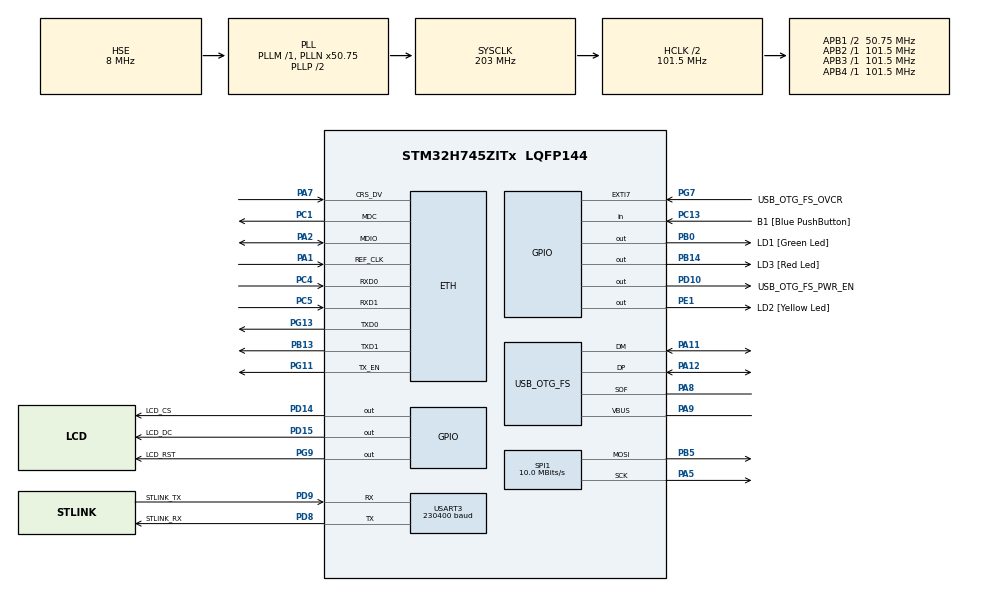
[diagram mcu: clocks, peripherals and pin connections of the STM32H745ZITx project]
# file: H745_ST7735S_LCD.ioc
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CortexM4.IPs=FATFS_M4\:I,FREERTOS_M4\:I,IWDG2\:I,RCC,WWDG2\:I,DMA,BDMA,MDMA,NVIC2\:I,USART3,ETH,DEBUG,USB_DEVICE_M4\:I,USB_HOST_M4\:I,PDM2PCM_M4\:I,PWR,RESMGR_UTILITY,SYS_M4\:I,CORTEX_M4\:I,OPENAMP_M4\:I,VREFBUF,GPIO
CortexM7.IPs=FATFS_M7\:I,FREERTOS_M7\:I,IWDG1\:I,RCC\:I,WWDG1\:I,DMA\:I,BDMA\:I,MDMA\:I,NVIC1\:I,SYS\:I,USART3\:I,USB_OTG_FS\:I,ETH\:I,CORTEX_M7\:I,DEBUG\:I,USB_DEVICE_M7\:I,USB_HOST_M7\:I,PDM2PCM_M7\:I,PWR\:I,RESMGR_UTILITY\:I,OPENAMP_M7\:I,VREFBUF\:I,GPIO\:I,SPI1\:I
CortexM7.Pins=PD14,PD15,PG9
Dma.Request0=SPI1_TX
Dma.Request1=USART3_RX
Dma.Request2=USART3_TX
Dma.SPI1_TX.0.Direction=DMA_MEMORY_TO_PERIPH
Dma.SPI1_TX.0.EventEnable=DISABLE
Dma.SPI1_TX.0.FIFOMode=DMA_FIFOMODE_DISABLE
Dma.SPI1_TX.0.Instance=DMA1_Stream0
Dma.SPI1_TX.0.MemDataAlignment=DMA_MDATAALIGN_BYTE
Dma.SPI1_TX.0.MemInc=DMA_MINC_ENABLE
Dma.SPI1_TX.0.Mode=DMA_CIRCULAR
Dma.SPI1_TX.0.PeriphDataAlignment=DMA_PDATAALIGN_BYTE
Dma.SPI1_TX.0.PeriphInc=DMA_PINC_DISABLE
Dma.SPI1_TX.0.Polarity=HAL_DMAMUX_REQ_GEN_RISING
Dma.SPI1_TX.0.Priority=DMA_PRIORITY_LOW
Dma.SPI1_TX.0.RequestNumber=1
Dma.SPI1_TX.0.SignalID=NONE
Dma.SPI1_TX.0.SyncEnable=DISABLE
Dma.SPI1_TX.0.SyncPolarity=HAL_DMAMUX_SYNC_NO_EVENT
Dma.SPI1_TX.0.SyncRequestNumber=1
Dma.SPI1_TX.0.SyncSignalID=NONE
Dma.USART3_RX.1.Direction=DMA_PERIPH_TO_MEMORY
Dma.USART3_RX.1.EventEnable=DISABLE
Dma.USART3_RX.1.FIFOMode=DMA_FIFOMODE_DISABLE
Dma.USART3_RX.1.Instance=DMA1_Stream1
Dma.USART3_RX.1.MemDataAlignment=DMA_MDATAALIGN_BYTE
Dma.USART3_RX.1.MemInc=DMA_MINC_ENABLE
Dma.USART3_RX.1.Mode=DMA_CIRCULAR
Dma.USART3_RX.1.PeriphDataAlignment=DMA_PDATAALIGN_BYTE
Dma.USART3_RX.1.PeriphInc=DMA_PINC_DISABLE
Dma.USART3_RX.1.Polarity=HAL_DMAMUX_REQ_GEN_RISING
Dma.USART3_RX.1.Priority=DMA_PRIORITY_LOW
Dma.USART3_RX.1.RequestNumber=1
Dma.USART3_RX.1.SignalID=NONE
Dma.USART3_RX.1.SyncEnable=DISABLE
Dma.USART3_RX.1.SyncPolarity=HAL_DMAMUX_SYNC_NO_EVENT
Dma.USART3_RX.1.SyncRequestNumber=1
Dma.USART3_RX.1.SyncSignalID=NONE
Dma.USART3_TX.2.Direction=DMA_MEMORY_TO_PERIPH
Dma.USART3_TX.2.EventEnable=DISABLE
Dma.USART3_TX.2.FIFOMode=DMA_FIFOMODE_DISABLE
Dma.USART3_TX.2.Instance=DMA1_Stream2
Dma.USART3_TX.2.MemDataAlignment=DMA_MDATAALIGN_BYTE
Dma.USART3_TX.2.MemInc=DMA_MINC_ENABLE
Dma.USART3_TX.2.Mode=DMA_CIRCULAR
Dma.USART3_TX.2.PeriphDataAlignment=DMA_PDATAALIGN_BYTE
Dma.USART3_TX.2.PeriphInc=DMA_PINC_DISABLE
Dma.USART3_TX.2.Polarity=HAL_DMAMUX_REQ_GEN_RISING
Dma.USART3_TX.2.Priority=DMA_PRIORITY_LOW
Dma.USART3_TX.2.RequestNumber=1
Dma.USART3_TX.2.SignalID=NONE
Dma.USART3_TX.2.SyncEnable=DISABLE
Dma.USART3_TX.2.SyncPolarity=HAL_DMAMUX_SYNC_NO_EVENT
Dma.USART3_TX.2.SyncRequestNumber=1
Dma.USART3_TX.2.SyncSignalID=NONE
ETH.MediaInterface=HAL_ETH_RMII_MODE
Mcu.Family=STM32H7
Mcu.Name=STM32H745ZITx
Mcu.Package=LQFP144
NVIC1.DMA1_Stream0_IRQn=true\:0\:0\:false\:false\:true\:false\:true\:true
NVIC1.DMA1_Stream1_IRQn=true\:0\:0\:false\:false\:true\:false\:true\:true
NVIC1.DMA1_Stream2_IRQn=true\:0\:0\:false\:false\:true\:false\:true\:true
NVIC1.PriorityGroup=NVIC_PRIORITYGROUP_4
NVIC1.SPI1_IRQn=true\:0\:0\:false\:false\:true\:false\:true\:true
NVIC1.USART3_IRQn=true\:0\:0\:false\:false\:true\:true\:true\:true
NVIC2.PriorityGroup=NVIC_PRIORITYGROUP_4
PA1.Mode=RMII
PA1.PinAttribute=CortexM7
PA1.Signal=ETH_REF_CLK
PA11.Mode=Device_Only
PA11.PinAttribute=CortexM7
PA11.Signal=USB_OTG_FS_DM
PA12.Mode=Device_Only
PA12.PinAttribute=CortexM7
PA12.Signal=USB_OTG_FS_DP
PA2.Mode=RMII
PA2.PinAttribute=CortexM7
PA2.Signal=ETH_MDIO
PA5.Mode=TX_Only_Simplex_Unidirect_Master
PA5.PinAttribute=CortexM7
PA5.Signal=SPI1_SCK
PA7.Mode=RMII
PA7.PinAttribute=CortexM7
PA7.Signal=ETH_CRS_DV
PA8.Mode=Activate_SOF_FS
PA8.PinAttribute=CortexM7
PA8.Signal=USB_OTG_FS_SOF
PA9.Mode=Activate_VBUS
PA9.PinAttribute=CortexM7
PA9.Signal=USB_OTG_FS_VBUS
PB0.GPIO_Label=LD1 [Green Led]
PB0.PinAttribute=Free
PB0.Signal=GPIO_Output
PB13.Mode=RMII
PB13.PinAttribute=CortexM7
PB13.Signal=ETH_TXD1
PB14.GPIO_Label=LD3 [Red Led]
PB14.PinAttribute=Free
PB14.Signal=GPIO_Output
PB5.Mode=TX_Only_Simplex_Unidirect_Master
PB5.PinAttribute=CortexM7
PB5.Signal=SPI1_MOSI
PC1.Mode=RMII
PC1.PinAttribute=CortexM7
PC1.Signal=ETH_MDC
PC13.GPIO_Label=B1 [Blue PushButton]
PC13.PinAttribute=Free
PC13.Signal=GPIO_Input
PC14-OSC32_IN\ (OSC32_IN).Mode=LSE-External-Oscillator
PC14-OSC32_IN\ (OSC32_IN).PinAttribute=CortexM7
PC14-OSC32_IN\ (OSC32_IN).Signal=RCC_OSC32_IN
PC15-OSC32_OUT\ (OSC32_OUT).Mode=LSE-External-Oscillator
PC15-OSC32_OUT\ (OSC32_OUT).PinAttribute=CortexM7
PC15-OSC32_OUT\ (OSC32_OUT).Signal=RCC_OSC32_OUT
PC4.Mode=RMII
PC4.PinAttribute=CortexM7
PC4.Signal=ETH_RXD0
PC5.Mode=RMII
PC5.PinAttribute=CortexM7
PC5.Signal=ETH_RXD1
PD10.GPIO_Label=USB_OTG_FS_PWR_EN
PD10.PinAttribute=Free
PD10.Signal=GPIO_Output
PD14.GPIO_Label=LCD_CS
PD14.PinAttribute=CortexM7
PD14.PinState=GPIO_PIN_SET
PD14.Signal=GPIO_Output
PD15.GPIO_Label=LCD_DC
PD15.PinAttribute=CortexM7
PD15.Signal=GPIO_Output
PD8.GPIO_Label=STLINK_RX
PD8.Mode=Asynchronous
PD8.PinAttribute=CortexM7
PD8.Signal=USART3_TX
PD9.GPIO_Label=STLINK_TX
PD9.Mode=Asynchronous
PD9.PinAttribute=CortexM7
PD9.Signal=USART3_RX
PE1.GPIO_Label=LD2 [Yellow Led]
PE1.PinAttribute=Free
PE1.Signal=GPIO_Output
PG11.Mode=RMII
PG11.PinAttribute=CortexM7
PG11.Signal=ETH_TX_EN
PG13.Mode=RMII
PG13.PinAttribute=CortexM7
PG13.Signal=ETH_TXD0
PG7.GPIO_Label=USB_OTG_FS_OVCR
PG7.PinAttribute=Free
PG7.Signal=GPXTI7
PG9.GPIO_Label=LCD_RST
PG9.PinAttribute=CortexM7
PG9.Signal=GPIO_Output
PH0-OSC_IN\ (PH0).Mode=HSE-External-Clock-Source
PH0-OSC_IN\ (PH0).PinAttribute=CortexM7
PH0-OSC_IN\ (PH0).Signal=RCC_OSC_IN
PH1-OSC_OUT\ (PH1).PinAttribute=CortexM7
PH1-OSC_OUT\ (PH1).Signal=RCC_OSC_OUT
ProjectManager.HeapSize=M4-0x200,M7-0x200
ProjectManager.StackSize=M4-0x400,M7-0x400
ProjectManager.TargetToolchain=STM32CubeIDE
RCC.ADCFreq_Value=80000000
RCC.APB1Freq_Value=50750000
RCC.APB2Freq_Value=101500000
RCC.APB3Freq_Value=101500000
RCC.APB4Freq_Value=101500000
RCC.CortexFreq_Value=203000000
RCC.D2PPRE1=RCC_APB1_DIV2
RCC.DIVM1=1
RCC.DIVM2=4
RCC.DIVM3=1
RCC.DIVN1=50
RCC.DIVN2=80
RCC.DIVN3=18
RCC.DIVQ3=3
RCC.HCLKFreq_Value=101500000
RCC.HPRE=RCC_HCLK_DIV2
RCC.HSE_VALUE=8000000
RCC.PLL2FRACN=0
RCC.PLL3FRACN=6144
RCC.PLLFRACN=6144
RCC.SPI123CLockSelection=RCC_SPI123CLKSOURCE_PLL2
RCC.SYSCLKFreq_VALUE=203000000
RCC.SYSCLKSource=RCC_SYSCLKSOURCE_PLLCLK
RCC.SupplySource=PWR_DIRECT_SMPS_SUPPLY
RCC.USBCLockSelection=RCC_USBCLKSOURCE_PLL3
RCC.USBFreq_Value=50000000
SPI1.BaudRatePrescaler=SPI_BAUDRATEPRESCALER_8
SPI1.CalculateBaudRate=10.0 MBits/s
SPI1.DataSize=SPI_DATASIZE_8BIT
SPI1.Direction=SPI_DIRECTION_2LINES_TXONLY
SPI1.Mode=SPI_MODE_MASTER
SPI1.VirtualType=VM_MASTER
USART3.BaudRate=230400
USART3.VirtualMode-Asynchronous=VM_ASYNC
USB_OTG_FS.VirtualMode=Device_Only
VP_SYS_M4_VS_Systick.Mode=SysTick
board=NUCLEO-H745ZI-Q

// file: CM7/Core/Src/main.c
/* USER CODE BEGIN Header */
/**
  ******************************************************************************
  * @file           : main.c
  * @brief          : Main program body
  ******************************************************************************
  * @attention
  *
  * Copyright (c) 2022 STMicroelectronics.
  * All rights reserved.
  *
  * This software is licensed under terms that can be found in the LICENSE file
  * in the root directory of this software component.
  * If no LICENSE file comes with this software, it is provided AS-IS.
  *
  ******************************************************************************
  */
/* USER CODE END Header */
#include "main.h"
#include "string.h"

/* USER CODE BEGIN Includes */
#include "ST7735S_LCD.h"
#include "UART_LCD.h"
#include "BMP_UART_Decode.h"

//#include "ST7735_SF.h"
#include "ST7735_af.h"

#include "fonts.h"
#include "testimg.h"
/* USER CODE END Includes */

/* USER CODE BEGIN PD */

#ifndef HSEM_ID_0
#define HSEM_ID_0 (0U) /* HW semaphore 0*/
#endif
/* USER CODE END PD */

#if defined ( __ICCARM__ ) /*!< IAR Compiler */
#pragma location=0x30000000
ETH_DMADescTypeDef  DMARxDscrTab[ETH_RX_DESC_CNT]; /* Ethernet Rx DMA Descriptors */
#pragma location=0x30000200
ETH_DMADescTypeDef  DMATxDscrTab[ETH_TX_DESC_CNT]; /* Ethernet Tx DMA Descriptors */

#elif defined ( __CC_ARM )  /* MDK ARM Compiler */

__attribute__((at(0x30000000))) ETH_DMADescTypeDef  DMARxDscrTab[ETH_RX_DESC_CNT]; /* Ethernet Rx DMA Descriptors */
__attribute__((at(0x30000200))) ETH_DMADescTypeDef  DMATxDscrTab[ETH_TX_DESC_CNT]; /* Ethernet Tx DMA Descriptors */

#elif defined ( __GNUC__ ) /* GNU Compiler */
ETH_DMADescTypeDef DMARxDscrTab[ETH_RX_DESC_CNT] __attribute__((section(".RxDecripSection"))); /* Ethernet Rx DMA Descriptors */
ETH_DMADescTypeDef DMATxDscrTab[ETH_TX_DESC_CNT] __attribute__((section(".TxDecripSection")));   /* Ethernet Tx DMA Descriptors */

#endif

ETH_TxPacketConfig TxConfig;

ETH_HandleTypeDef heth;

SPI_HandleTypeDef hspi1;
DMA_HandleTypeDef hdma_spi1_tx;

UART_HandleTypeDef huart3;
DMA_HandleTypeDef hdma_usart3_rx;
DMA_HandleTypeDef hdma_usart3_tx;

PCD_HandleTypeDef hpcd_USB_OTG_FS;

/* USER CODE BEGIN PV */
LCDHandle ST7735S = { 0 };
UARTStucrture UART2 ={ 0 };

/////////////// SF////////////
uint8_t r = 0;
/* USER CODE END PV */

void SystemClock_Config(void);
static void MX_GPIO_Init(void);
static void MX_ETH_Init(void);
static void MX_USART3_UART_Init(void);
static void MX_USB_OTG_FS_PCD_Init(void);
static void MX_SPI1_Init(void);
static void MX_DMA_Init(void);
/* USER CODE BEGIN PFP */
void demoTFT();
void af_loop();
/* USER CODE END PFP */

int main(void)
{
/* USER CODE BEGIN Boot_Mode_Sequence_0 */
  int32_t timeout;
/* USER CODE END Boot_Mode_Sequence_0 */

/* USER CODE BEGIN Boot_Mode_Sequence_1 */
  /* Wait until CPU2 boots and enters in stop mode or timeout*/
  timeout = 0xFFFF;
  while((__HAL_RCC_GET_FLAG(RCC_FLAG_D2CKRDY) != RESET) && (timeout-- > 0));
  if ( timeout < 0 )
  {
  Error_Handler();
  }
/* USER CODE END Boot_Mode_Sequence_1 */
  /* MCU Configuration--------------------------------------------------------*/

  /* Reset of all peripherals, Initializes the Flash interface and the Systick. */
  HAL_Init();

  /* Configure the system clock */
  SystemClock_Config();
/* USER CODE BEGIN Boot_Mode_Sequence_2 */
/* When system initialization is finished, Cortex-M7 will release Cortex-M4 by means of
HSEM notification */
/*HW semaphore Clock enable*/
__HAL_RCC_HSEM_CLK_ENABLE();
/*Take HSEM */
HAL_HSEM_FastTake(HSEM_ID_0);
/*Release HSEM in order to notify the CPU2(CM4)*/
HAL_HSEM_Release(HSEM_ID_0,0);
/* wait until CPU2 wakes up from stop mode */
timeout = 0xFFFF;
while((__HAL_RCC_GET_FLAG(RCC_FLAG_D2CKRDY) == RESET) && (timeout-- > 0));
if ( timeout < 0 )
{
Error_Handler();
}
/* USER CODE END Boot_Mode_Sequence_2 */

  /* Initialize all configured peripherals */
  MX_GPIO_Init();
  MX_ETH_Init();
  MX_USART3_UART_Init();
  MX_USB_OTG_FS_PCD_Init();
  MX_SPI1_Init();
  MX_DMA_Init();
  /* USER CODE BEGIN 2 */

//  	ST7735S.hspi = &hspi1;
//  	ST7735S.CSPort = GPIOD;
//  	ST7735S.CSPin = GPIO_PIN_14;
//  	ST7735S.DCPort = GPIOD;
//  	ST7735S.DCPin = GPIO_PIN_15;
//  	ST7735S.RstPort = GPIOG;
//  	ST7735S.RstPin = GPIO_PIN_9;
//  	LCD_init(&ST7735S);
//  	LCD_flush(&ST7735S);
//  	UART2.huart = &huart3;
//  	UART2.RxLen =255;
//  	UART2.TxLen =255;
//  	UARTInit(&UART2);
//  	UARTResetStart(&UART2);

  	ST7735_Init();
//	const char ready[] = "Ready!\r\n";
//	HAL_UART_Transmit(&huart3, (uint8_t*)ready, sizeof(ready)-1, HAL_MAX_DELAY);

  /* USER CODE END 2 */

  /* Infinite loop */
  while (1)
  {

    /* USER CODE BEGIN 3 */

	  //demoTFT();
	  af_loop();
	  //// Read  .bmp from UART Terra terms//////
//	  int16_t read = UARTReadChar(&UART2) ;
//	  		if(read != -1)
//	  			{
//	  				BMPDecoder(read, LCDBufferAddr());
//	  			}

	  ///////////////////////////////////////////
  }
  /* USER CODE END 3 */
}

void SystemClock_Config(void)
{
  RCC_OscInitTypeDef RCC_OscInitStruct = {0};
  RCC_ClkInitTypeDef RCC_ClkInitStruct = {0};

  /** Supply configuration update enable
  */
  HAL_PWREx_ConfigSupply(PWR_DIRECT_SMPS_SUPPLY);

  /** Configure the main internal regulator output voltage
  */
  __HAL_PWR_VOLTAGESCALING_CONFIG(PWR_REGULATOR_VOLTAGE_SCALE2);

  while(!__HAL_PWR_GET_FLAG(PWR_FLAG_VOSRDY)) {}

  /** Macro to configure the PLL clock source
  */
  __HAL_RCC_PLL_PLLSOURCE_CONFIG(RCC_PLLSOURCE_HSE);

  /** Initializes the RCC Oscillators according to the specified parameters
  * in the RCC_OscInitTypeDef structure.
  */
  RCC_OscInitStruct.OscillatorType = RCC_OSCILLATORTYPE_HSE;
  RCC_OscInitStruct.HSEState = RCC_HSE_BYPASS;
  RCC_OscInitStruct.PLL.PLLState = RCC_PLL_ON;
  RCC_OscInitStruct.PLL.PLLSource = RCC_PLLSOURCE_HSE;
  RCC_OscInitStruct.PLL.PLLM = 1;
  RCC_OscInitStruct.PLL.PLLN = 50;
  RCC_OscInitStruct.PLL.PLLP = 2;
  RCC_OscInitStruct.PLL.PLLQ = 2;
  RCC_OscInitStruct.PLL.PLLR = 2;
  RCC_OscInitStruct.PLL.PLLRGE = RCC_PLL1VCIRANGE_3;
  RCC_OscInitStruct.PLL.PLLVCOSEL = RCC_PLL1VCOWIDE;
  RCC_OscInitStruct.PLL.PLLFRACN = 6144;
  if (HAL_RCC_OscConfig(&RCC_OscInitStruct) != HAL_OK)
  {
    Error_Handler();
  }

  /** Initializes the CPU, AHB and APB buses clocks
  */
  RCC_ClkInitStruct.ClockType = RCC_CLOCKTYPE_HCLK|RCC_CLOCKTYPE_SYSCLK
                              |RCC_CLOCKTYPE_PCLK1|RCC_CLOCKTYPE_PCLK2
                              |RCC_CLOCKTYPE_D3PCLK1|RCC_CLOCKTYPE_D1PCLK1;
  RCC_ClkInitStruct.SYSCLKSource = RCC_SYSCLKSOURCE_PLLCLK;
  RCC_ClkInitStruct.SYSCLKDivider = RCC_SYSCLK_DIV1;
  RCC_ClkInitStruct.AHBCLKDivider = RCC_HCLK_DIV2;
  RCC_ClkInitStruct.APB3CLKDivider = RCC_APB3_DIV1;
  RCC_ClkInitStruct.APB1CLKDivider = RCC_APB1_DIV2;
  RCC_ClkInitStruct.APB2CLKDivider = RCC_APB2_DIV1;
  RCC_ClkInitStruct.APB4CLKDivider = RCC_APB4_DIV1;

  if (HAL_RCC_ClockConfig(&RCC_ClkInitStruct, FLASH_LATENCY_1) != HAL_OK)
  {
    Error_Handler();
  }
}

static void MX_ETH_Init(void)
{

   static uint8_t MACAddr[6];

  heth.Instance = ETH;
  MACAddr[0] = 0x00;
  MACAddr[1] = 0x80;
  MACAddr[2] = 0xE1;
  MACAddr[3] = 0x00;
  MACAddr[4] = 0x00;
  MACAddr[5] = 0x00;
  heth.Init.MACAddr = &MACAddr[0];
  heth.Init.MediaInterface = HAL_ETH_RMII_MODE;
  heth.Init.TxDesc = DMATxDscrTab;
  heth.Init.RxDesc = DMARxDscrTab;
  heth.Init.RxBuffLen = 1524;

  if (HAL_ETH_Init(&heth) != HAL_OK)
  {
    Error_Handler();
  }

  memset(&TxConfig, 0 , sizeof(ETH_TxPacketConfig));
  TxConfig.Attributes = ETH_TX_PACKETS_FEATURES_CSUM | ETH_TX_PACKETS_FEATURES_CRCPAD;
  TxConfig.ChecksumCtrl = ETH_CHECKSUM_IPHDR_PAYLOAD_INSERT_PHDR_CALC;
  TxConfig.CRCPadCtrl = ETH_CRC_PAD_INSERT;

}

static void MX_SPI1_Init(void)
{

  /* SPI1 parameter configuration*/
  hspi1.Instance = SPI1;
  hspi1.Init.Mode = SPI_MODE_MASTER;
  hspi1.Init.Direction = SPI_DIRECTION_2LINES_TXONLY;
  hspi1.Init.DataSize = SPI_DATASIZE_8BIT;
  hspi1.Init.CLKPolarity = SPI_POLARITY_LOW;
  hspi1.Init.CLKPhase = SPI_PHASE_1EDGE;
  hspi1.Init.NSS = SPI_NSS_SOFT;
  hspi1.Init.BaudRatePrescaler = SPI_BAUDRATEPRESCALER_8;
  hspi1.Init.FirstBit = SPI_FIRSTBIT_MSB;
  hspi1.Init.TIMode = SPI_TIMODE_DISABLE;
  hspi1.Init.CRCCalculation = SPI_CRCCALCULATION_DISABLE;
  hspi1.Init.CRCPolynomial = 0x0;
  hspi1.Init.NSSPMode = SPI_NSS_PULSE_ENABLE;
  hspi1.Init.NSSPolarity = SPI_NSS_POLARITY_LOW;
  hspi1.Init.FifoThreshold = SPI_FIFO_THRESHOLD_01DATA;
  hspi1.Init.TxCRCInitializationPattern = SPI_CRC_INITIALIZATION_ALL_ZERO_PATTERN;
  hspi1.Init.RxCRCInitializationPattern = SPI_CRC_INITIALIZATION_ALL_ZERO_PATTERN;
  hspi1.Init.MasterSSIdleness = SPI_MASTER_SS_IDLENESS_00CYCLE;
  hspi1.Init.MasterInterDataIdleness = SPI_MASTER_INTERDATA_IDLENESS_00CYCLE;
  hspi1.Init.MasterReceiverAutoSusp = SPI_MASTER_RX_AUTOSUSP_DISABLE;
  hspi1.Init.MasterKeepIOState = SPI_MASTER_KEEP_IO_STATE_DISABLE;
  hspi1.Init.IOSwap = SPI_IO_SWAP_DISABLE;
  if (HAL_SPI_Init(&hspi1) != HAL_OK)
  {
    Error_Handler();
  }

}

static void MX_USART3_UART_Init(void)
{

  huart3.Instance = USART3;
  huart3.Init.BaudRate = 230400;
  huart3.Init.WordLength = UART_WORDLENGTH_8B;
  huart3.Init.StopBits = UART_STOPBITS_1;
  huart3.Init.Parity = UART_PARITY_NONE;
  huart3.Init.Mode = UART_MODE_TX_RX;
  huart3.Init.HwFlowCtl = UART_HWCONTROL_NONE;
  huart3.Init.OverSampling = UART_OVERSAMPLING_16;
  huart3.Init.OneBitSampling = UART_ONE_BIT_SAMPLE_DISABLE;
  huart3.Init.ClockPrescaler = UART_PRESCALER_DIV1;
  huart3.AdvancedInit.AdvFeatureInit = UART_ADVFEATURE_NO_INIT;
  if (HAL_UART_Init(&huart3) != HAL_OK)
  {
    Error_Handler();
  }
  if (HAL_UARTEx_SetTxFifoThreshold(&huart3, UART_TXFIFO_THRESHOLD_1_8) != HAL_OK)
  {
    Error_Handler();
  }
  if (HAL_UARTEx_SetRxFifoThreshold(&huart3, UART_RXFIFO_THRESHOLD_1_8) != HAL_OK)
  {
    Error_Handler();
  }
  if (HAL_UARTEx_DisableFifoMode(&huart3) != HAL_OK)
  {
    Error_Handler();
  }

}

static void MX_USB_OTG_FS_PCD_Init(void)
{

  hpcd_USB_OTG_FS.Instance = USB_OTG_FS;
  hpcd_USB_OTG_FS.Init.dev_endpoints = 9;
  hpcd_USB_OTG_FS.Init.speed = PCD_SPEED_FULL;
  hpcd_USB_OTG_FS.Init.dma_enable = DISABLE;
  hpcd_USB_OTG_FS.Init.phy_itface = PCD_PHY_EMBEDDED;
  hpcd_USB_OTG_FS.Init.Sof_enable = DISABLE;
  hpcd_USB_OTG_FS.Init.low_power_enable = DISABLE;
  hpcd_USB_OTG_FS.Init.lpm_enable = DISABLE;
  hpcd_USB_OTG_FS.Init.battery_charging_enable = ENABLE;
  hpcd_USB_OTG_FS.Init.vbus_sensing_enable = ENABLE;
  hpcd_USB_OTG_FS.Init.use_dedicated_ep1 = DISABLE;
  if (HAL_PCD_Init(&hpcd_USB_OTG_FS) != HAL_OK)
  {
    Error_Handler();
  }

}

static void MX_DMA_Init(void)
{

  /* DMA controller clock enable */
  __HAL_RCC_DMA1_CLK_ENABLE();

  /* DMA interrupt init */
  /* DMA1_Stream0_IRQn interrupt configuration */
  HAL_NVIC_SetPriority(DMA1_Stream0_IRQn, 0, 0);
  HAL_NVIC_EnableIRQ(DMA1_Stream0_IRQn);
  /* DMA1_Stream1_IRQn interrupt configuration */
  HAL_NVIC_SetPriority(DMA1_Stream1_IRQn, 0, 0);
  HAL_NVIC_EnableIRQ(DMA1_Stream1_IRQn);
  /* DMA1_Stream2_IRQn interrupt configuration */
  HAL_NVIC_SetPriority(DMA1_Stream2_IRQn, 0, 0);
  HAL_NVIC_EnableIRQ(DMA1_Stream2_IRQn);

}

static void MX_GPIO_Init(void)
{
  GPIO_InitTypeDef GPIO_InitStruct = {0};

  /* GPIO Ports Clock Enable */
  __HAL_RCC_GPIOC_CLK_ENABLE();
  __HAL_RCC_GPIOH_CLK_ENABLE();
  __HAL_RCC_GPIOA_CLK_ENABLE();
  __HAL_RCC_GPIOB_CLK_ENABLE();
  __HAL_RCC_GPIOD_CLK_ENABLE();
  __HAL_RCC_GPIOG_CLK_ENABLE();

  /*Configure GPIO pin Output Level */
  HAL_GPIO_WritePin(LCD_CS_GPIO_Port, LCD_CS_Pin, GPIO_PIN_SET);

  /*Configure GPIO pin Output Level */
  HAL_GPIO_WritePin(LCD_DC_GPIO_Port, LCD_DC_Pin, GPIO_PIN_RESET);

  /*Configure GPIO pin Output Level */
  HAL_GPIO_WritePin(LCD_RST_GPIO_Port, LCD_RST_Pin, GPIO_PIN_RESET);

  /*Configure GPIO pins : LCD_CS_Pin LCD_DC_Pin */
  GPIO_InitStruct.Pin = LCD_CS_Pin|LCD_DC_Pin;
  GPIO_InitStruct.Mode = GPIO_MODE_OUTPUT_PP;
  GPIO_InitStruct.Pull = GPIO_NOPULL;
  GPIO_InitStruct.Speed = GPIO_SPEED_FREQ_LOW;
  HAL_GPIO_Init(GPIOD, &GPIO_InitStruct);

  /*Configure GPIO pin : LCD_RST_Pin */
  GPIO_InitStruct.Pin = LCD_RST_Pin;
  GPIO_InitStruct.Mode = GPIO_MODE_OUTPUT_PP;
  GPIO_InitStruct.Pull = GPIO_NOPULL;
  GPIO_InitStruct.Speed = GPIO_SPEED_FREQ_LOW;
  HAL_GPIO_Init(LCD_RST_GPIO_Port, &GPIO_InitStruct);

}

/* USER CODE BEGIN 4 */
void af_loop(){
	// Check border
//	    ST7735_FillScreen(ST7735_BLACK);
//
//	    for(int x = 0; x < ST7735_WIDTH; x++) {
//	        ST7735_DrawPixel(x, 0, ST7735_RED);
//	        ST7735_DrawPixel(x, ST7735_HEIGHT-1, ST7735_RED);
//	    }
//
//	    for(int y = 0; y < ST7735_HEIGHT; y++) {
//	        ST7735_DrawPixel(0, y, ST7735_RED);
//	        ST7735_DrawPixel(ST7735_WIDTH-1, y, ST7735_RED);
//	    }
//
//	    HAL_Delay(3000);

	    // Check fonts
	    ST7735_FillScreen(ST7735_BLACK);
	    ST7735_WriteString(0, 0, "Font_7x10, red on black, lorem ipsum dolor sit amet", Font_7x10, ST7735_RED, ST7735_BLACK);
	    ST7735_WriteString(0, 3*10, "Font_11x18, green, lorem ipsum", Font_11x18, ST7735_GREEN, ST7735_BLACK);
	    ST7735_WriteString(0, 3*10+3*18, "Font_16x26", Font_16x26, ST7735_BLUE, ST7735_BLACK);
	    HAL_Delay(2000);

	    // Check colors
//	    ST7735_FillScreen(ST7735_BLACK);
//	    ST7735_WriteString(0, 0, "BLACK", Font_11x18, ST7735_WHITE, ST7735_BLACK);
//	    HAL_Delay(500);
//
//	    ST7735_FillScreen(ST7735_BLUE);
//	    ST7735_WriteString(0, 0, "BLUE", Font_11x18, ST7735_BLACK, ST7735_BLUE);
//	    HAL_Delay(500);
//
//	    ST7735_FillScreen(ST7735_RED);
//	    ST7735_WriteString(0, 0, "RED", Font_11x18, ST7735_BLACK, ST7735_RED);
//	    HAL_Delay(500);
//
//	    ST7735_FillScreen(ST7735_GREEN);
//	    ST7735_WriteString(0, 0, "GREEN", Font_11x18, ST7735_BLACK, ST7735_GREEN);
//	    HAL_Delay(500);

	    ST7735_FillScreen(ST7735_CYAN);
	    ST7735_WriteString(0, 0, "CYAN", Font_11x18, ST7735_BLACK, ST7735_CYAN);
	    HAL_Delay(500);

	    ST7735_FillScreen(ST7735_MAGENTA);
	    ST7735_WriteString(0, 0, "MAGENTA", Font_11x18, ST7735_BLACK, ST7735_MAGENTA);
	    HAL_Delay(500);

	    ST7735_FillScreen(ST7735_YELLOW);
	    ST7735_WriteString(0, 0, "YELLOW", Font_11x18, ST7735_BLACK, ST7735_YELLOW);
	    HAL_Delay(500);

	    ST7735_FillScreen(ST7735_WHITE);
	    ST7735_WriteString(0, 0, "WHITE", Font_11x18, ST7735_BLACK, ST7735_WHITE);
	    HAL_Delay(500);

	#ifdef ST7735_IS_128X128
	    // Display test image 128x128
	    ST7735_DrawImage(0, 0, ST7735_WIDTH, ST7735_HEIGHT, (uint16_t*)image_data_Imageoftest);
	    ////test_img_128x128
	    HAL_Delay(3500);

	    ST7735_FillScreen(ST7735_YELLOW);
		ST7735_WriteString(40, 10, "YELLOW", Font_11x18, ST7735_BLACK, ST7735_YELLOW);
		HAL_Delay(500);

	    // Display test image 128x128 pixel by pixel
	    for(int y = 0; y < ST7735_HEIGHT; y++) {
	        for(int x = 0; x < ST7735_WIDTH; x++) {
	            uint16_t color565 = test_img_128x128[y][x];
	            // fix endiness
	            color565 = ((color565 & 0xFF00) >> 8) | ((color565 & 0xFF) << 8);
	            ST7735_DrawPixel(x, y, color565);
	        }
	    }

	    HAL_Delay(5000);
	#endif // ST7735_IS_128X128

	}

//void demoTFT(void)
//{
// ST7735_SetRotation(r);
//
// ST7735_FillScreen(ST7735_BLACK);
//
// for(int x = 0; x < ST7735_GetWidth(); x++)
// {
//   ST7735_DrawPixel(x, 0, ST7735_WHITE);
//   ST7735_DrawPixel(x, ST7735_GetHeight() - 1, ST7735_WHITE);
// }
//
// for(int y = 0; y < ST7735_GetHeight(); y++)
// {
//   ST7735_DrawPixel(0, y, ST7735_WHITE);
//   ST7735_DrawPixel(ST7735_GetWidth() - 1, y, ST7735_WHITE);
// }
//
// ST7735_DrawLine(0, 0, ST7735_GetWidth(), ST7735_GetHeight(), ST7735_WHITE);
// ST7735_DrawLine(ST7735_GetWidth(), 0, 0, ST7735_GetHeight(), ST7735_WHITE);
//
// HAL_Delay(2000);
//
// ST7735_FillScreen(ST7735_BLACK);
//
// for (int i = 0; i < ST7735_GetHeight(); i += 4)
// {
//  ST7735_DrawFastHLine(0, i, ST7735_GetWidth() - 1, ST7735_WHITE);
// }
//
// for (int i = 0; i < ST7735_GetWidth(); i += 4)
// {
//  ST7735_DrawFastVLine(i, 0, ST7735_GetHeight() - 1, ST7735_WHITE);
// }
//
// HAL_Delay(2000);
//
// // Check fonts
// ST7735_FillScreen(ST7735_BLACK);
// ST7735_DrawString(0, 0, "Font_7x10, red on black, lorem ipsum dolor sit amet", Font_7x10, ST7735_RED, ST7735_BLACK);
// ST7735_DrawString(0, 3*10, "Font_11x18, green, lorem ipsum", Font_11x18, ST7735_GREEN, ST7735_BLACK);
// ST7735_DrawString(0, 3*10+3*18, "Font_16x26", Font_16x26, ST7735_BLUE, ST7735_BLACK);
// HAL_Delay(2000);
//
// // Check colors
// ST7735_FillScreen(ST7735_BLACK);
// ST7735_DrawString(0, 0, "BLACK", Font_11x18, ST7735_WHITE, ST7735_BLACK);
// HAL_Delay(500);
//
// ST7735_FillScreen(ST7735_BLUE);
// ST7735_DrawString(0, 0, "BLUE", Font_11x18, ST7735_BLACK, ST7735_BLUE);
// HAL_Delay(500);
//
// ST7735_FillScreen(ST7735_RED);
// ST7735_DrawString(0, 0, "RED", Font_11x18, ST7735_BLACK, ST7735_RED);
// HAL_Delay(500);
//
// ST7735_FillScreen(ST7735_GREEN);
// ST7735_DrawString(0, 0, "GREEN", Font_11x18, ST7735_BLACK, ST7735_GREEN);
// HAL_Delay(500);
//
// ST7735_FillScreen(ST7735_CYAN);
// ST7735_DrawString(0, 0, "CYAN", Font_11x18, ST7735_BLACK, ST7735_CYAN);
// HAL_Delay(500);
//
// ST7735_FillScreen(ST7735_MAGENTA);
// ST7735_DrawString(0, 0, "MAGENTA", Font_11x18, ST7735_BLACK, ST7735_MAGENTA);
// HAL_Delay(500);
//
// ST7735_FillScreen(ST7735_YELLOW);
// ST7735_DrawString(0, 0, "YELLOW", Font_11x18, ST7735_BLACK, ST7735_YELLOW);
// HAL_Delay(500);
//
// ST7735_FillScreen(ST7735_WHITE);
// ST7735_DrawString(0, 0, "WHITE", Font_11x18, ST7735_BLACK, ST7735_WHITE);
// HAL_Delay(500);
//
// // Draw circles
// ST7735_FillScreen(ST7735_BLACK);
// for (int i = 0; i < ST7735_GetHeight() / 2; i += 2)
// {
//  ST7735_DrawCircle(ST7735_GetWidth() / 2, ST7735_GetHeight() / 2, i, ST7735_YELLOW);
// }
// HAL_Delay(1000);
//
// ST7735_FillScreen(ST7735_BLACK);
// ST7735_FillTriangle(0, 0, ST7735_GetWidth() / 2, ST7735_GetHeight(), ST7735_GetWidth(), 0, ST7735_RED);
// HAL_Delay(1000);
//
// ST7735_FillScreen(ST7735_BLACK);
// ST7735_DrawImage(0, 0, 128, 128, (uint16_t*) test_img_128x128);
// HAL_Delay(3000);
//
// r++;
//}

/* USER CODE END 4 */

void Error_Handler(void)
{
  __disable_irq();
  while (1)
  {
  }
}
